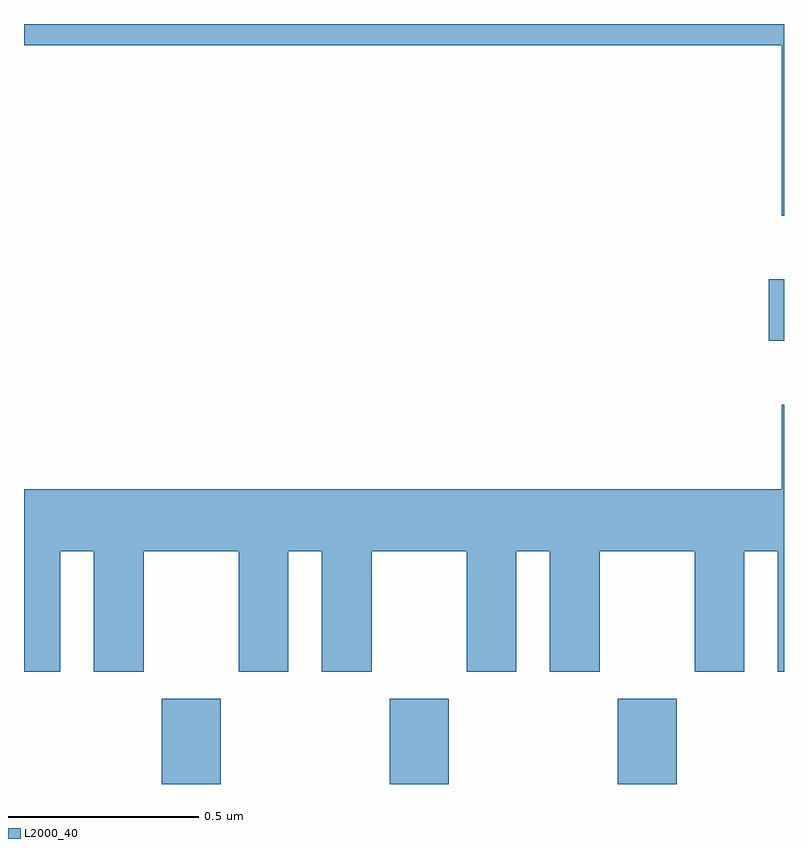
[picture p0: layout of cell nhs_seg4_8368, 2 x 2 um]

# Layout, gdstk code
import gdstk
lib = gdstk.Library(unit=1e-6, precision=1e-09)
def R(c, l, rs):  # rectangles x0, y0, x1, y1
    for r in rs: c.add(gdstk.rectangle(r[:2], r[2:], *l))
def A(c, l, x, y, w, h, nx, ny, dx, dy):  # array of equal rectangles
    R(c, l, [(x+i*dx, y+j*dy, x+i*dx+w, y+j*dy+h) for i in range(nx) for j in range(ny)])
def P(c, l, *ps):  # polygons
    for p in ps: c.add(gdstk.Polygon(p, *l))
L2000_40 = (2000, 40)

nhs_seg4_8368 = lib.new_cell('nhs_seg4_8368')
A(nhs_seg4_8368, L2000_40, 214.363, 770.9, 0.155, 0.224, 3, 1, 0.6, 0)
R(nhs_seg4_8368, L2000_40, [(215.96,772.067,216,772.228)])
P(nhs_seg4_8368, L2000_40, [(216,772.9),(214,772.9),(214,772.844),(215.994,772.844),(215.994,772.395),(216,772.395)],
  [(214.096,771.512),(214.184,771.512),(214.184,771.195),(214.315,771.195),(214.315,771.512),(214.565,771.512),(214.565,771.195),(214.696,771.195),(214.696,771.512),(214.784,771.512),(214.784,771.195),(214.915,771.195),(214.915,771.512),(215.165,771.512),(215.165,771.195),(215.296,771.195),(215.296,771.512),(215.384,771.512),(215.384,771.195),(215.515,771.195),(215.515,771.512),(215.765,771.512),(215.765,771.195),(215.896,771.195),(215.896,771.512),(215.984,771.512),(215.984,771.195),(216,771.195),(216,771.898),(215.994,771.898),(215.994,771.676),(214,771.676),(214,771.195),(214.096,771.195)])

lib.write_gds('nhs_seg4_8368.gds')
